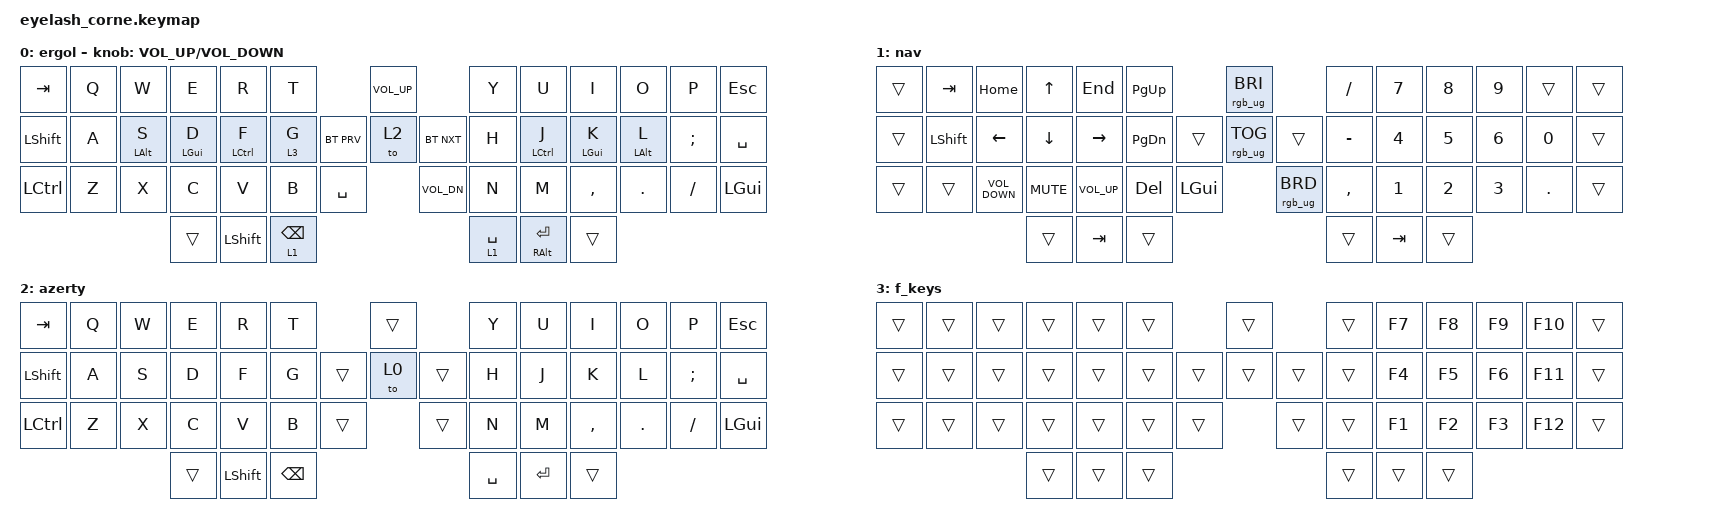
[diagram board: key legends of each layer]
#define ZMK_POINTING_DEFAULT_MOVE_VAL 1200  // 600
#define ZMK_POINTING_DEFAULT_SCRL_VAL 25   // 10

#include <input/processors.dtsi>
#include <zephyr/dt-bindings/input/input-event-codes.h>
#include <behaviors.dtsi>
#include <dt-bindings/zmk/bt.h>
#include <dt-bindings/zmk/keys.h>
#include <dt-bindings/zmk/pointing.h>
#include <dt-bindings/zmk/rgb.h>

&mmv_input_listener { input-processors = <&zip_xy_scaler 2 1>; };

&msc_input_listener { input-processors = <&zip_scroll_scaler 2 1>; };

&msc {
    acceleration-exponent = <1>;      // 0
    time-to-max-speed-ms = <100>;       // 300
    delay-ms = <0>;                   // 0
};

&mmv {
    time-to-max-speed-ms = <500>;
    acceleration-exponent = <1>;
    trigger-period-ms = <16>;
};

&mt { tapping-term-ms = <100>; };

/ {
    behaviors {
        td0: td0 {
            compatible = "zmk,behavior-tap-dance";
            display-name = "Shift/Caps Lock Tap Dance";
            #binding-cells = <0>;
            bindings = <&kp LEFT_SHIFT>, <&kp CAPS>;
        };

        new_behavior_hold_tap: new_behavior_hold_tap {
            compatible = "zmk,behavior-hold-tap";
            label = "NEW_BEHAVIOR_HOLD_TAP";
            bindings = <&kp>, <&kp>;

            #binding-cells = <2>;
            flavor = "tap-preferred";
            tapping-term-ms = <250>;
        };
    };

    rgb_encoder: rgb_encoder {
        compatible = "zmk,behavior-sensor-rotate";
        #sensor-binding-cells = <0>;
        bindings = <&rgb_ug RGB_BRI>, <&rgb_ug RGB_BRD>;
    };

    scroll_encoder: scroll_encoder {
        compatible = "zmk,behavior-sensor-rotate";
        #sensor-binding-cells = <0>;
        bindings = <&msc SCRL_DOWN>, <&msc SCRL_UP>;

        tap-ms = <100>;
    };

    keymap {
        compatible = "zmk,keymap";

        ERGOL {
            display-name = "ergol";
            bindings = <
&kp TAB         &kp Q  &kp W                              &kp E                              &kp R                                  &kp T                                     &kp C_VOLUME_UP              &kp Y        &kp U                                   &kp I                              &kp O                              &kp P     &kp ESCAPE
&kp LEFT_SHIFT  &kp A  &new_behavior_hold_tap LEFT_ALT S  &new_behavior_hold_tap LEFT_GUI D  &new_behavior_hold_tap LEFT_CONTROL F  &lt 3 G                       &bt BT_PRV  &to 2            &bt BT_NXT  &kp H        &new_behavior_hold_tap LEFT_CONTROL J   &new_behavior_hold_tap LEFT_GUI K  &new_behavior_hold_tap LEFT_ALT L  &kp SEMI  &kp SPACE
&kp LCTRL       &kp Z  &kp X                              &kp C                              &kp V                                  &kp B            &kp SPACE                &kp C_VOL_DN                 &kp N        &kp M                                   &kp COMMA                          &kp DOT                            &kp FSLH  &kp LEFT_GUI
                                                          &trans                             &kp LEFT_SHIFT                         &lt 1 BACKSPACE                                                        &lt 1 SPACE  &new_behavior_hold_tap RIGHT_ALT ENTER  &trans
            >;

            sensor-bindings = <&inc_dec_kp C_VOLUME_UP C_VOLUME_DOWN>;
        };

        NAV {
            bindings = <
&trans  &kp TAB     &kp HOME           &kp UP      &kp END          &kp PG_UP                       &rgb_ug RGB_BRI          &kp FSLH   &kp N7   &kp N8  &kp N9  &trans        &trans
&trans  &kp LSHIFT  &kp LEFT           &kp DOWN    &kp RIGHT        &kp PG_DN               &trans  &rgb_ug RGB_TOG  &trans  &kp MINUS  &kp N4   &kp N5  &kp N6  &kp NUMBER_0  &trans
&trans  &trans      &kp C_VOLUME_DOWN  &kp K_MUTE  &kp C_VOLUME_UP  &kp DELETE  &kp LGUI            &rgb_ug RGB_BRD          &kp COMMA  &kp N1   &kp N2  &kp N3  &kp DOT       &trans
                                       &trans      &kp TAB          &trans                                                   &trans     &kp TAB  &trans
            >;

            label = "nav";
        };

        AZERTY {
            bindings = <
&kp TAB    &kp Q  &kp W  &kp E   &kp R           &kp T                       &trans          &kp Y      &kp U    &kp I      &kp O    &kp P     &kp ESC
&kp LSHFT  &kp A  &kp S  &kp D   &kp F           &kp G               &trans  &to 0   &trans  &kp H      &kp J    &kp K      &kp L    &kp SEMI  &kp SPACE
&kp LCTRL  &kp Z  &kp X  &kp C   &kp V           &kp B     &trans            &trans          &kp N      &kp M    &kp COMMA  &kp DOT  &kp FSLH  &kp LGUI
                         &trans  &kp LEFT_SHIFT  &kp BSPC                                    &kp SPACE  &kp RET  &trans
            >;

            label = "azerty";
        };

        F_KEYS {
            bindings = <
&trans  &trans  &trans  &trans  &trans  &trans                    &trans          &trans  &kp F7  &kp F8  &kp F9  &kp F10  &trans
&trans  &trans  &trans  &trans  &trans  &trans            &trans  &trans  &trans  &trans  &kp F4  &kp F5  &kp F6  &kp F11  &trans
&trans  &trans  &trans  &trans  &trans  &trans  &trans            &trans          &trans  &kp F1  &kp F2  &kp F3  &kp F12  &trans
                        &trans  &trans  &trans                                    &trans  &trans  &trans
            >;

            label = "f_keys";
        };
    };
};
